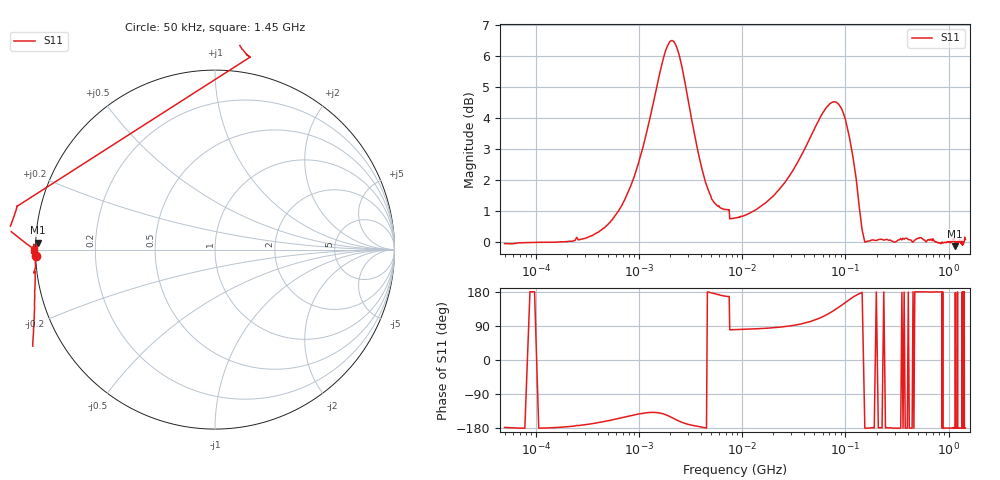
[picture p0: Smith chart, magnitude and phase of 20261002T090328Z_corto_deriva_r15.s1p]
! piloto_deriva / corto_deriva / r15
# HZ S RI R 50
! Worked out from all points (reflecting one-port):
!   501 points, 50 kHz to 1.45 GHz, reference 50 ohm
!   lowest |S11| = -0.1 dB at 1.157 GHz (marker M1), VSWR 139.04, Z = 0.36 + j0.977 ohm
!   phase of S11 starts at -178 deg and turns -2 deg over the sweep
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50000  -0.9945 -0.0365
183000  -1 -0.0518
363500  -1.004 -0.2234
658000  -1.014 -0.5108
1180000  -1.135 -0.9759
1630000  -1.469 -1.212
1990000  -1.806 -1.08
2440000  -1.901 -0.646
3160000  -1.592 -0.2417
4330000  -1.263 -0.0308
7300000  -1.102 0.2418
7750000  0.1941 1.075
8560000  0.1873 1.078
1.9e7  0.1092 1.172
3.16e7  -0.0352 1.313
4.69e7  -0.3247 1.453
5.77e7  -0.5952 1.48
6.76e7  -0.8592 1.417
7.93e7  -1.139 1.238
9.37e7  -1.355 0.8998
9.82e7  -1.383 0.7837
1e8  -1.391 0.7382
1.18e8  -1.331 0.3381
1.36e8  -1.135 0.0999
1.63e8  -1.004 -0.00383
4.06e8  -1.01 0.0147
1.1575e9  -0.985 0.0385
1.45e9  -1.011 -0.0049
